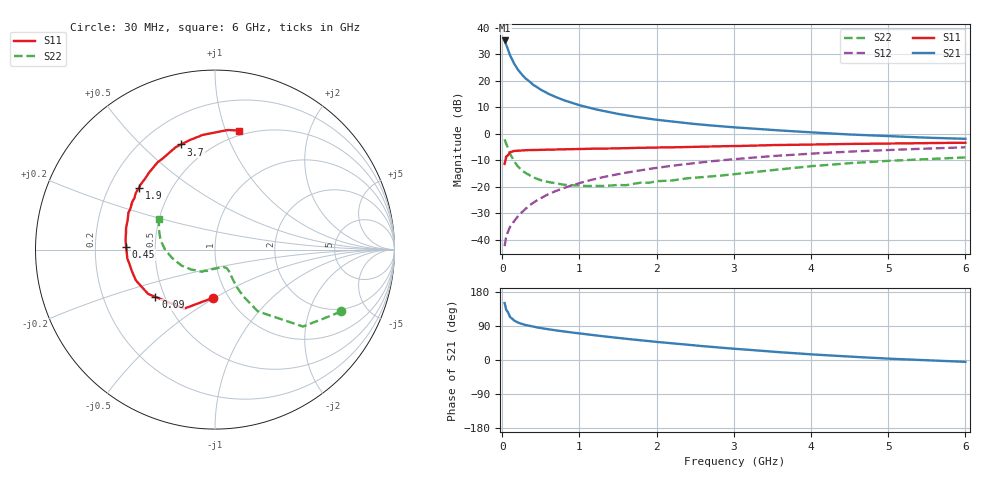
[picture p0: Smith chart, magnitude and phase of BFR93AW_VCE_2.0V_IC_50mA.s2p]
! Infineon Technologies  Discrete & RF Semiconductors
! BFR93AW
! VCE =  2.0 V,  IC =  50 mA
! Common Emitter S-Parameters:  Nov 2015
# GHz  S  MA  R  50
!  f  S11  S21  S12  S22
! GHz  MAG  ANG  MAG  ANG  MAG  ANG  MAG  ANG
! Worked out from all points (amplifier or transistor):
!   206 points, 30 MHz to 6 GHz, reference 50 ohm
!   highest |S21| = 35.3 dB at 30 MHz (marker M1)
!   |S21| within 3 dB of that: start of sweep to 69.2 MHz
!   unconditionally stable (mu >= 1): 290.4 MHz to 2.37 GHz
!   at 200 MHz: K = 0.94, MSG = 27.8 dB, |S12| = -31.3 dB
!   at 1.56 GHz: K = 1.05, MAG = 9.8 dB, |S12| = -14.9 dB
!   at 6 GHz: K = 0.95, MSG = 1.6 dB, |S12| = -5.1 dB
!   S11 on the Smith chart (normalised r, x): 30 MHz: 0.85, -0.49; 90 MHz: 0.44, -0.29; 450 MHz: 0.34, +0.01; 1.9 GHz: 0.33, +0.32; 3.7 GHz: 0.35, +0.67; 6 GHz: 0.46, +1.12
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0.03  0.2687 -92.1  58.12 150.3  0.0075 71.4  0.7836 -26.1
0.05  0.3707 -117.5  48.58 132.7  0.0112 68.3  0.6511 -41.2
0.09  0.4241 -141.6  33.71 118.8  0.0161 66.1  0.4618 -51.4
0.1  0.4471 -146.5  30.48 113.3  0.0173 65.8  0.418 -55.3
0.15  0.4733 -158.8  21.46 104.4  0.0219 67.6  0.304 -58.8
0.2  0.4787 -165.7  16.49 99.0  0.0272 69.8  0.2437 -59.7
0.26  0.485 -171.5  12.88 94.7  0.0335 71.7  0.1998 -59.3
0.3  0.4908 -174.0  11.18 92.3  0.038 72.5  0.182 -58.8
0.4  0.4928 -179.6  8.436 87.8  0.0496 74.9  0.1504 -57.0
0.45  0.4952 178.3  7.611 86.1  0.0551 75.0  0.1412 -57.2
0.5  0.4982 176.2  6.793 84.1  0.0606 75.0  0.132 -57.5
0.6  0.5017 172.9  5.684 81.0  0.0723 74.6  0.122 -57.6
0.7  0.5039 169.7  4.901 77.9  0.0834 74.6  0.1157 -59.7
1.04  0.5157 160.4  3.35 69.1  0.1214 72.5  0.1037 -70.8
1.4  0.5283 151.9  2.533 60.5  0.1612 69.4  0.1051 -87.4
1.9  0.5445 141.2  1.927 49.8  0.2163 64.7  0.1184 -105.8
2.02  0.5507 138.6  1.826 47.4  0.2288 63.5  0.1272 -110.7
3.1  0.5894 117.9  1.295 28.3  0.3401 51.6  0.1778 -142.8
3.7  0.6155 107.9  1.131 19.2  0.3957 44.7  0.2198 -160.9
4.1  0.6285 101.7  1.044 13.8  0.4293 40.1  0.25 -171.5
5.1  0.6563 88.6  0.891 2.8  0.5 29.1  0.3119 168.1
6  0.6768 78.5  0.803 -4.9  0.5555 19.9  0.357 151.0
